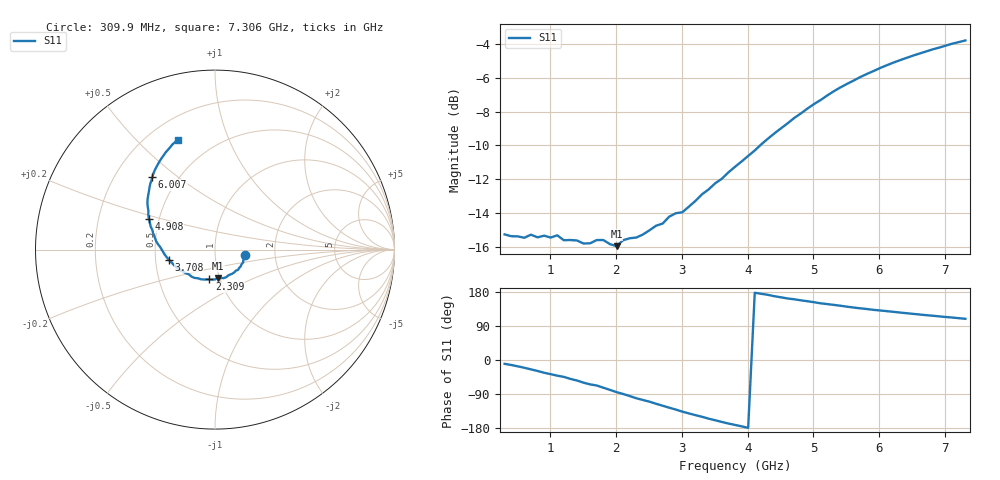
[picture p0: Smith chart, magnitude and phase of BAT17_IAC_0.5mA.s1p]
! Infineon Technologies  Discrete & RF Semiconductors
! BAT17
! IAC = 0.5 mA
! One-Port S-Parameters
# Hz  S  MA  R  50
!f  S11
!Hz  Mag  Ang
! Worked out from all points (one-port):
!   71 points, 309.9 MHz to 7.306 GHz, reference 50 ohm
!   lowest |S11| = -16.0 dB at 2.009 GHz (marker M1), VSWR 1.38, Z = 48.9 - j15.9 ohm
!   |S11| at or under -10 dB: start of sweep to 4.19 GHz
!   S11 on the Smith chart (normalised r, x): 309.9 MHz: 1.41, -0.09; 2.309 GHz: 0.89, -0.30; 3.708 GHz: 0.59, -0.07; 4.908 GHz: 0.44, +0.18; 6.007 GHz: 0.36, +0.41; 7.306 GHz: 0.32, +0.67
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3.0985e8  0.1725 -10.1
6.097e8  0.1686 -20.5
7.0965e8  0.1721 -24.7
8.096e8  0.1691 -28.9
1.10945e9  0.1714 -41.4
1.2094e9  0.1658 -44.6
1.4093e9  0.1655 -54.2
1.50925e9  0.1621 -59.9
1.70915e9  0.166 -67.3
1.8091e9  0.166 -73.1
2.009e9  0.1592 -84.8
2.10895e9  0.1658 -89.7
2.30885e9  0.1688 -100.9
2.70865e9  0.1856 -120.6
2.8086e9  0.1946 -125.8
3.0085e9  0.2006 -136.3
3.30835e9  0.2267 -149.9
3.70815e9  0.2631 -167.7
3.8081e9  0.2732 -171.3
4.30785e9  0.3309 172.0
4.70765e9  0.3811 160.2
4.90755e9  0.4062 155.1
5.30735e9  0.457 145.5
5.6072e9  0.4913 138.5
6.007e9  0.5349 130.8
6.50675e9  0.5822 121.8
6.8066e9  0.6078 116.9
7.30635e9  0.646 108.7
